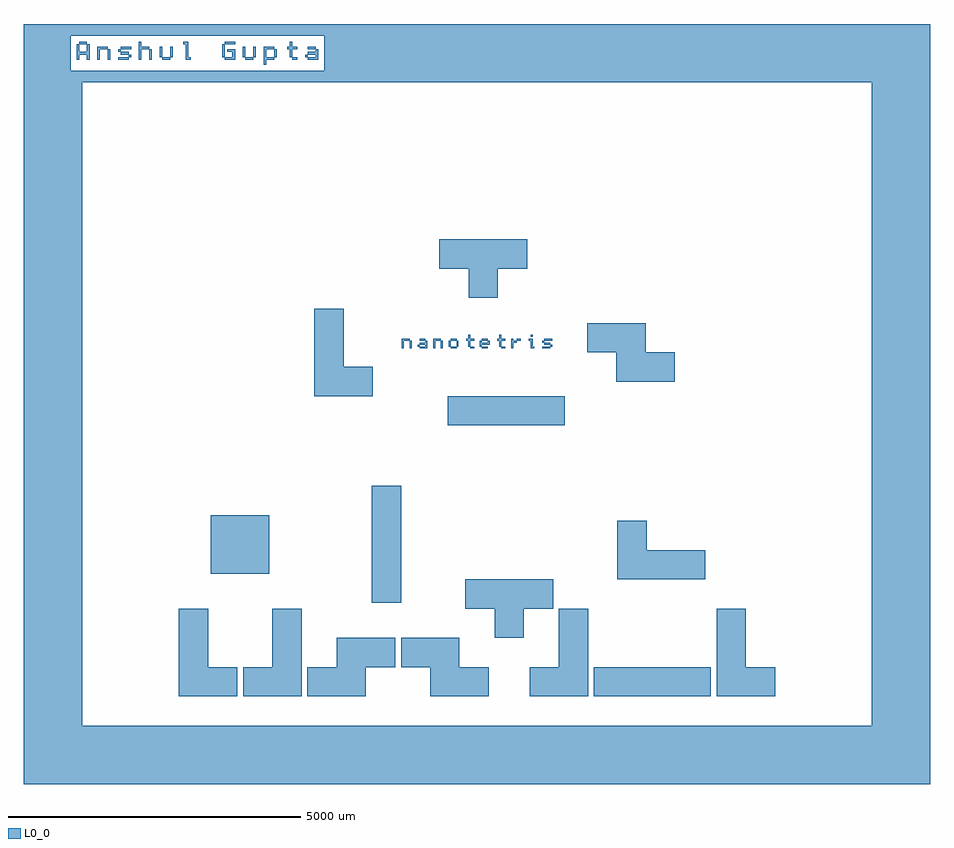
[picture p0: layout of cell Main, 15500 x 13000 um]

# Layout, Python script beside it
import gdspy
gdspy.current_library = gdspy.GdsLibrary()

# Chip and frame parameters
chip_height = 13000  # Slightly larger than 0.5"
chip_width = 15500   # Slightly larger than 0.6"
frame_height = chip_height - 2000
frame_width = chip_width - 2000
text_offset = 200
text_height = 400
text_width = 1500
text_frame_width = 100
block_size = 20   # Size of each Tetris block unit (perfect squares)
spacing = block_size/5       # Slightly reduced spacing for a tighter design

# Setup .gds file
lib = gdspy.GdsLibrary()
main_cell = lib.new_cell('Main')

# Draw the frame for design
frame = gdspy.Rectangle((-chip_width / 2, -chip_height / 2), (chip_width / 2, chip_height / 2))
inner = gdspy.Rectangle((-frame_width / 2, -frame_height / 2), (+frame_width / 2, +frame_height / 2))
frame = gdspy.boolean(frame, inner, 'not')

# Add label to frame
text_start = (-frame_width / 2 - text_offset, frame_height / 2 + text_offset)
this_text = "Anshul Gupta"
this_title = gdspy.Text(this_text, text_height, position=(text_start[0] + text_frame_width, text_start[1] + text_frame_width))
bb = this_title.get_bounding_box()
text_frame = gdspy.Rectangle(bb[0] - text_frame_width, bb[1] + text_frame_width)
frame = gdspy.boolean(frame, text_frame, 'not')
main_cell.add(frame)
main_cell.add(this_title)

# Define Tetris block shapes using perfect squares
def tetris_square(x, y):
    return gdspy.Rectangle((x, y), (x + 2 * block_size, y + 2 * block_size))

def tetris_line(x, y):
    return gdspy.Rectangle((x, y), (x + block_size, y + 4 * block_size))

def tetris_line_flat(x, y):
    return gdspy.Rectangle((x, y), (x + 4 * block_size, y + block_size))

def tetris_z_left(x, y):
    return [
        gdspy.Rectangle((x, y), (x + block_size, y + block_size)),
        gdspy.Rectangle((x + block_size, y), (x + 2 * block_size, y + block_size)),
        gdspy.Rectangle((x + block_size, y + block_size), (x + 2 * block_size, y + 2 * block_size)),
        gdspy.Rectangle((x + 2 * block_size, y + block_size), (x + 3 * block_size, y + 2 * block_size))
    ]

def tetris_z_right(x, y):
    return [
        gdspy.Rectangle((x + block_size, y), (x + 2 * block_size, y + block_size)),
        gdspy.Rectangle((x + 2 * block_size, y), (x + 3 * block_size, y + block_size)),
        gdspy.Rectangle((x, y + block_size), (x + block_size, y + 2 * block_size)),
        gdspy.Rectangle((x + block_size, y + block_size), (x + 2 * block_size, y + 2 * block_size))
    ]

def tetris_l_left(x, y):
    return [
        gdspy.Rectangle((x, y + block_size * 2), (x + block_size, y + block_size * 3)),
        gdspy.Rectangle((x, y), (x + block_size, y + block_size)),
        gdspy.Rectangle((x, y + block_size), (x + block_size, y + 2 * block_size)),
        gdspy.Rectangle((x + block_size, y), (x + 2 * block_size, y + block_size)),
    ]

def tetris_l_right(x, y):
    return [
        gdspy.Rectangle((x + block_size, y + 2 * block_size), (x + 2 * block_size, y + 3 * block_size)),
        gdspy.Rectangle((x + block_size, y), (x + 2 * block_size, y + block_size)),
        gdspy.Rectangle((x + block_size, y + block_size), (x + 2 * block_size, y + 2 * block_size)),
        gdspy.Rectangle((x, y), (x + block_size, y + block_size))
    ]

def tetris_l_right_flat(x, y):
    return [
            gdspy.Rectangle((x+block_size, y), (x + 3 * block_size, y + block_size)),
            gdspy.Rectangle((x, y), (x+block_size, y + block_size*2))
            ]
                           

def tetris_t(x, y):
    return [
        gdspy.Rectangle((x + block_size, y), (x + 2 * block_size, y + block_size)),
        gdspy.Rectangle((x, y + block_size), (x + block_size, y + 2 * block_size)),
        gdspy.Rectangle((x + block_size, y + block_size), (x + 2 * block_size, y + 2 * block_size)),
        gdspy.Rectangle((x + 2 * block_size, y + block_size), (x + 3 * block_size, y + 2 * block_size))
    ]

# Create "Tetris game" appearance
def add_block(block_func, x, y):
    block = block_func(x, y)
    if isinstance(block, list):
        for sub_block in block:
            main_cell.add(sub_block)
    else:
        main_cell.add(block)

x_start = -frame_width / 2 + block_size
y_start = -frame_height / 2 + block_size

row = 0
x = x_start + spacing + block_size*2
y = y_start + 2 * block_size + spacing
extra = block_size + spacing

for i in range(0,186):
    for j in range(0,270):
        add_block(tetris_square, x + block_size*2*i+spacing*8*i, y+block_size*2*j)


file_title = "tetris.gds"
lib.write_gds(file_title)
